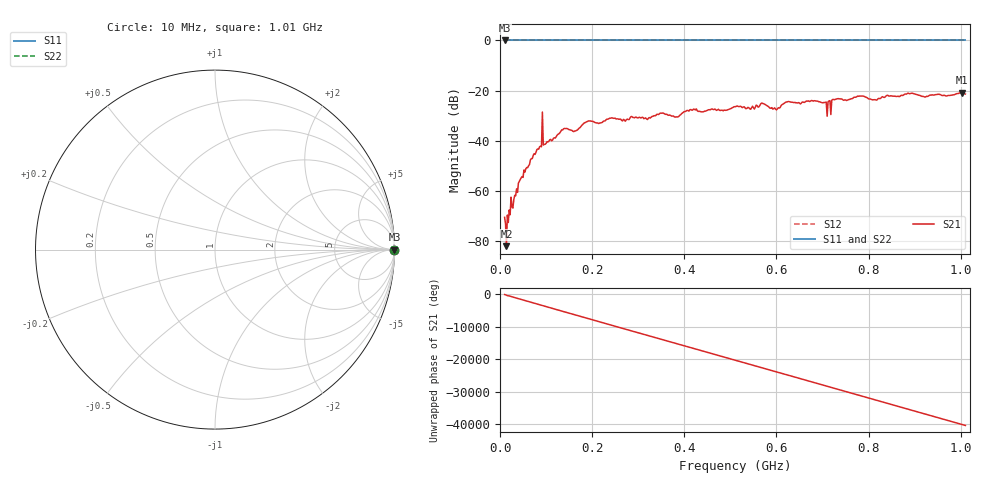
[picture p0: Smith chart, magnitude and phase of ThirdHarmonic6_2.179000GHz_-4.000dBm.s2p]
! 8/17/2025 1:59:20 AM
! C:\ANRITSUVNA\TEMP\TEMP.S2P
! CHANNEL.1
! TR.MEASUREMENT
! RAW.DATA
! RF.CORRECTION.OFF
! AVERAGING.OFF
! IF.BANDWIDTH: 5KHZ
! SWEEPTYPE:  FREQ.SWEEP(Linear)
! Reference Plane Port Info
! PORT:  PORT1  PORT2
! DISTANCE:  0  m  0  m
! TIME:  0  s  0  s
! PHASE.OFFSET:  0  deg.  0  deg.
! LOSS:  0  dB  0  dB
! REF.LOSS:  0  dB  0  dB
! REF.FREQ:  0  Hz  0  Hz
! Power Info
! POWER:  -20  dBm  -20  dBm
! EFF.POWER:  -20  dBm  -20  dBm
! SOURCE.ATTEN:  0  dB  0  dB
! TEST.ATTEN:  0  dB  0  dB
# GHZ S RI R 50.0
! FREQ.GHZ  S11RE  S11IM  S21RE  S21IM  S12RE  S12IM  S22RE  S22IM
!; PortSelection: Port_12
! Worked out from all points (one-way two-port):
!   501 points, 10 MHz to 1.01 GHz, reference 50 ohm
!   highest |S21| = -20.77 dB at 1.002 GHz (marker M1); lowest = -82.1 dB at 14 MHz (marker M2)
!   lowest |S11| = 0.0 dB at 10 MHz (marker M3)
!   |S11| at or under -10 dB: nowhere
!   |S22| runs from 0.0 to 0.0 dB; largest |S21 - S12| = 1.1
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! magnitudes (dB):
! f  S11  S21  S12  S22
! 10 MHz  0.0  -70.6  0.0  0.0
! 14 MHz  0.0  -82.1  0.0  0.0
! 44 MHz  0.0  -55.4  0.0  0.0
! 86 MHz  0.0  -42.4  0.0  0.0
! 88 MHz  0.0  -42.2  0.0  0.0
! 96 MHz  0.0  -41.5  0.0  0.0
! 98 MHz  0.0  -41.4  0.0  0.0
! 138 MHz  0.0  -35.2  0.0  0.0
! 178 MHz  0.0  -33.8  0.0  0.0
! 344 MHz  0.0  -29.5  0.0  0.0
! 384 MHz  0.0  -30.5  0.0  0.0
! 416 MHz  0.0  -27.8  0.0  0.0
! 510 MHz  0.0  -26.4  0.0  0.0
! 570 MHz  0.0  -25.1  0.0  0.0
! 598 MHz  0.0  -27.4  0.0  0.0
! 624 MHz  0.0  -24.5  0.0  0.0
! 678 MHz  0.0  -24.0  0.0  0.0
! 714 MHz  0.0  -24.2  0.0  0.0
! 726 MHz  0.0  -23.7  0.0  0.0
! 844 MHz  0.0  -22.2  0.0  0.0
! 1.002 GHz  0.0  -20.8  0.0  0.0
! 1.01 GHz  0.0  -21.4  0.0  0.0
